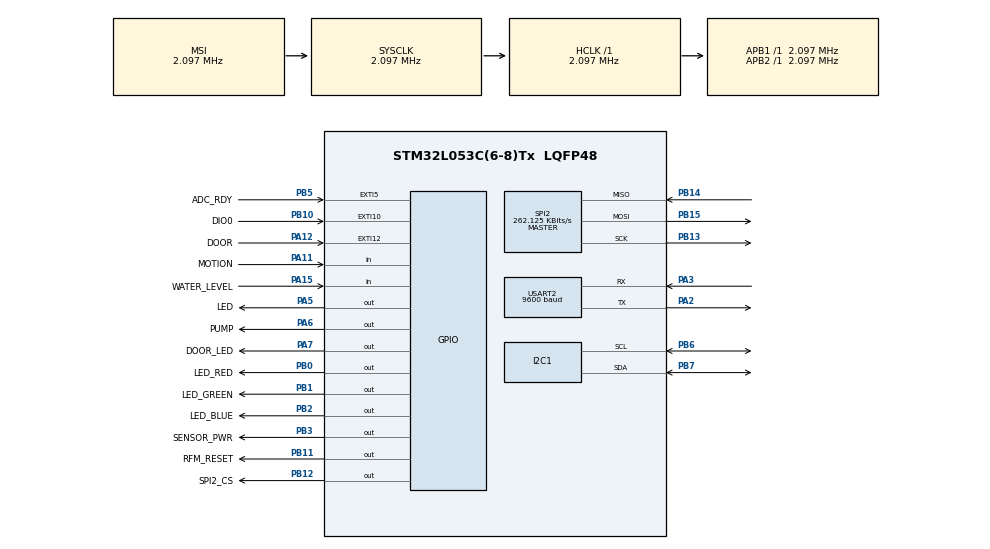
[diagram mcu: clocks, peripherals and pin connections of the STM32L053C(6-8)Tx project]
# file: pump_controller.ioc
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ADC.ClockPrescaler=ADC_CLOCK_SYNC_PCLK_DIV2
ADC.ContinuousConvMode=ENABLE
ADC.DMAContinuousRequests=DISABLE
ADC.DataAlign=ADC_DATAALIGN_RIGHT
ADC.DiscontinuousConvMode=DISABLE
ADC.EOCSelection=ADC_EOC_SINGLE_CONV
ADC.EnableAnalogWatchDog=false
ADC.ExternalTrigConv=ADC_SOFTWARE_START
ADC.ExternalTrigConvEdge=ADC_EXTERNALTRIGCONVEDGE_NONE
ADC.LowPowerAutoPowerOff=DISABLE
ADC.LowPowerAutoWait=ENABLE
ADC.LowPowerFrequencyMode=DISABLE
ADC.Overrun=ADC_OVR_DATA_PRESERVED
ADC.OversamplingMode=DISABLE
ADC.Resolution=ADC_RESOLUTION_12B
ADC.SamplingTime=ADC_SAMPLETIME_160CYCLES_5
ADC.ScanConvMode=ADC_SCAN_DIRECTION_FORWARD
I2C1.Timing=0x00000708
Mcu.Family=STM32L0
Mcu.Name=STM32L053C(6-8)Tx
Mcu.Package=LQFP48
NVIC.EXTI4_15_IRQn=true\:0\:0\:false\:true\:true\:2\:true
NVIC.RTC_IRQn=true\:0\:0\:true\:true\:true\:1\:true
NVIC.USART2_IRQn=true\:0\:0\:false\:false\:true\:true
PA11.GPIO_Label=MOTION
PA11.Signal=GPIO_Input
PA12.GPIO_Label=DOOR
PA12.Signal=GPXTI12
PA13.Mode=Serial_Wire
PA13.Signal=SYS_SWDIO
PA14.Mode=Serial_Wire
PA14.Signal=SYS_SWCLK
PA15.GPIO_Label=WATER_LEVEL
PA15.Signal=GPIO_Input
PA2.Mode=Asynchronous
PA2.Signal=USART2_TX
PA3.Mode=Asynchronous
PA3.Signal=USART2_RX
PA5.GPIO_Label=LED
PA5.Signal=GPIO_Output
PA6.GPIO_Label=PUMP
PA6.Signal=GPIO_Output
PA7.GPIO_Label=DOOR_LED
PA7.Signal=GPIO_Output
PB0.GPIO_Label=LED_RED
PB0.Signal=GPIO_Output
PB1.GPIO_Label=LED_GREEN
PB1.Signal=GPIO_Output
PB10.GPIO_Label=DIO0
PB10.Signal=GPXTI10
PB11.GPIO_Label=RFM_RESET
PB11.Signal=GPIO_Output
PB12.GPIO_Label=SPI2_CS
PB12.Signal=GPIO_Output
PB13.Mode=Full_Duplex_Master
PB13.Signal=SPI2_SCK
PB14.Mode=Full_Duplex_Master
PB14.Signal=SPI2_MISO
PB15.Mode=Full_Duplex_Master
PB15.Signal=SPI2_MOSI
PB2.GPIO_Label=LED_BLUE
PB2.Signal=GPIO_Output
PB3.GPIO_Label=SENSOR_PWR
PB3.Signal=GPIO_Output
PB5.GPIO_Label=ADC_RDY
PB5.Signal=GPXTI5
PB6.Mode=I2C
PB6.Signal=I2C1_SCL
PB7.Mode=I2C
PB7.Signal=I2C1_SDA
ProjectManager.HeapSize=0x200
ProjectManager.StackSize=0x400
ProjectManager.TargetToolchain=SW4STM32
RCC.AHBFreq_Value=2097000
RCC.APB1Freq_Value=2097000
RCC.APB1TimFreq_Value=2097000
RCC.APB2Freq_Value=2097000
RCC.APB2TimFreq_Value=2097000
RCC.HCLKFreq_Value=2097000
RCC.HSE_VALUE=8000000
RCC.HSI16_VALUE=16000000
RCC.HSI48_VALUE=48000000
RCC.HSI_VALUE=16000000
RCC.LSE_VALUE=32768
RCC.MSI_VALUE=2097000
RCC.SYSCLKFreq_VALUE=2097000
RCC.VCOOutputFreq_Value=48000000
RTC.WakeUpClock-WakeUp=RTC_WAKEUPCLOCK_CK_SPRE_16BITS
SPI2.BaudRatePrescaler=SPI_BAUDRATEPRESCALER_8
SPI2.CLKPhase=SPI_PHASE_1EDGE
SPI2.CLKPolarity=SPI_POLARITY_LOW
SPI2.CalculateBaudRate=262.125 KBits/s
SPI2.Direction=SPI_DIRECTION_2LINES
SPI2.Mode=SPI_MODE_MASTER
SPI2.VirtualType=VM_MASTER
USART2.BaudRate=9600
USART2.VirtualMode-Asynchronous=VM_ASYNC
VP_ADC_TempSens_Input.Mode=IN-TempSens
VP_RTC_VS_RTC_Activate.Mode=RTC_Enabled
VP_RTC_VS_RTC_Calendar.Mode=RTC_Calendar
VP_RTC_VS_RTC_WakeUp_intern.Mode=WakeUp
board=lora_sensor

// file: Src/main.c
/* USER CODE BEGIN Header */
/**
  ******************************************************************************
  * @file           : main.c
  * @brief          : Main program body
  ******************************************************************************
  ** This notice applies to any and all portions of this file
  * that are not between comment pairs USER CODE BEGIN and
  * USER CODE END. Other portions of this file, whether
  * inserted by the user or by software development tools
  * are owned by their respective copyright owners.
  *
  * COPYRIGHT(c) 2018 STMicroelectronics
  *
  * Redistribution and use in source and binary forms, with or without modification,
  * are permitted provided that the following conditions are met:
  *   1. Redistributions of source code must retain the above copyright notice,
  *      this list of conditions and the following disclaimer.
  *   2. Redistributions in binary form must reproduce the above copyright notice,
  *      this list of conditions and the following disclaimer in the documentation
  *      and/or other materials provided with the distribution.
  *   3. Neither the name of STMicroelectronics nor the names of its contributors
  *      may be used to endorse or promote products derived from this software
  *      without specific prior written permission.
  *
  * THIS SOFTWARE IS PROVIDED BY THE COPYRIGHT HOLDERS AND CONTRIBUTORS "AS IS"
  * AND ANY EXPRESS OR IMPLIED WARRANTIES, INCLUDING, BUT NOT LIMITED TO, THE
  * IMPLIED WARRANTIES OF MERCHANTABILITY AND FITNESS FOR A PARTICULAR PURPOSE ARE
  * DISCLAIMED. IN NO EVENT SHALL THE COPYRIGHT HOLDER OR CONTRIBUTORS BE LIABLE
  * FOR ANY DIRECT, INDIRECT, INCIDENTAL, SPECIAL, EXEMPLARY, OR CONSEQUENTIAL
  * DAMAGES (INCLUDING, BUT NOT LIMITED TO, PROCUREMENT OF SUBSTITUTE GOODS OR
  * SERVICES; LOSS OF USE, DATA, OR PROFITS; OR BUSINESS INTERRUPTION) HOWEVER
  * CAUSED AND ON ANY THEORY OF LIABILITY, WHETHER IN CONTRACT, STRICT LIABILITY,
  * OR TORT (INCLUDING NEGLIGENCE OR OTHERWISE) ARISING IN ANY WAY OUT OF THE USE
  * OF THIS SOFTWARE, EVEN IF ADVISED OF THE POSSIBILITY OF SUCH DAMAGE.
  *
  ******************************************************************************
  */
/* USER CODE END Header */

#include "main.h"
#include "adc.h"
#include "i2c.h"
#include "rtc.h"
#include "spi.h"
#include "usart.h"
#include "gpio.h"

/* USER CODE BEGIN Includes */

#include "string.h"
#include "stdio.h"
#include "stdlib.h"

#include "battery.h"
#include "water.h"

/* USER CODE END Includes */

/* USER CODE BEGIN PD */

#define TXBUFFERSIZE 128

/* USER CODE END PD */

void SystemClock_Config(void);
static void MX_NVIC_Init(void);

/* USER CODE BEGIN 0 */

/* Buffer used for debug UART */
char tx_buffer[TXBUFFERSIZE];
uint32_t last_blink = 0;
/* tmp */
uint8_t msg_id = 0;
float water_temperature = 0;

/* USER CODE END 0 */

int main(void)
{

  /* MCU Configuration--------------------------------------------------------*/

  /* Reset of all peripherals, Initializes the Flash interface and the Systick. */
  HAL_Init();

  /* Configure the system clock */
  SystemClock_Config();

  /* Initialize all configured peripherals */
  MX_GPIO_Init();
  MX_ADC_Init();
  MX_I2C1_Init();
  MX_RTC_Init();
  MX_SPI2_Init();
  MX_USART2_UART_Init();

  /* Initialize interrupts */
  MX_NVIC_Init();
  /* USER CODE BEGIN 2 */

  HAL_GPIO_WritePin(GPIOB, SENSOR_PWR_Pin, GPIO_PIN_SET);

  HAL_GPIO_WritePin(GPIOA, LED_Pin, GPIO_PIN_SET);
  HAL_GPIO_WritePin(GPIOA, LED_Pin, DOOR_LED_Pin);
  HAL_GPIO_WritePin(GPIOB, LED_RED_Pin, GPIO_PIN_RESET);
  HAL_GPIO_WritePin(GPIOB, LED_GREEN_Pin, GPIO_PIN_RESET);
  HAL_GPIO_WritePin(GPIOB, LED_BLUE_Pin, GPIO_PIN_RESET);

  HAL_GPIO_WritePin(GPIOA, PUMP_Pin, GPIO_PIN_SET);

  /* USER CODE END 2 */

  /* Infinite loop */
  while (1)
  {

    /* USER CODE BEGIN 3 */

	  uint32_t now = HAL_GetTick();
	  if (now - last_blink >= 1000) {
		  last_blink = now;

		  // Send data to debug UART.
		  water_temperature = WATER_Temperature();
		  char buf[100];
		  gcvt(water_temperature, 6, buf);
		  uint16_t batt = BATTERY_Mv();
			int tx_len = snprintf(
			  tx_buffer,
			  TXBUFFERSIZE,
			  "msg_id:%d, batt:%u, temp:%s\n",
			  msg_id++,
			  batt,
			  buf
			);
			// Blocking UART.
			HAL_UART_Transmit(&huart2, (uint8_t *)tx_buffer, tx_len, 500);

		  HAL_GPIO_TogglePin(GPIOA, LED_Pin);
	  }

	  if (HAL_GPIO_ReadPin(GPIOA, MOTION_Pin)) {
		  HAL_GPIO_WritePin(GPIOB, LED_RED_Pin, GPIO_PIN_SET);
	  } else {
		  HAL_GPIO_WritePin(GPIOB, LED_RED_Pin, GPIO_PIN_RESET);
	  }

	  if (HAL_GPIO_ReadPin(GPIOA, WATER_LEVEL_Pin)) {
		  HAL_GPIO_WritePin(GPIOB, LED_BLUE_Pin, GPIO_PIN_SET);
	  } else {
		  HAL_GPIO_WritePin(GPIOB, LED_BLUE_Pin, GPIO_PIN_RESET);
	  }

	  if (water_temperature > 1600) {
		  HAL_GPIO_WritePin(GPIOB, LED_GREEN_Pin, GPIO_PIN_SET);
	  } else {
		  HAL_GPIO_WritePin(GPIOB, LED_GREEN_Pin, GPIO_PIN_RESET);
	  }

	  if (HAL_GPIO_ReadPin(DOOR_GPIO_Port, DOOR_Pin)) {
		  HAL_GPIO_WritePin(GPIOA, DOOR_LED_Pin, GPIO_PIN_SET);
	  } else {
		  HAL_GPIO_WritePin(GPIOA, DOOR_LED_Pin, GPIO_PIN_RESET);
	  }

//	  HAL_GPIO_WritePin(GPIOB, LED_RED_Pin, GPIO_PIN_SET);
//	  HAL_GPIO_WritePin(GPIOB, LED_GREEN_Pin, GPIO_PIN_RESET);
//	  HAL_GPIO_WritePin(GPIOB, LED_BLUE_Pin, GPIO_PIN_RESET);
//
//	  HAL_Delay(500);
//	  HAL_GPIO_TogglePin(GPIOA, LED_Pin);
//	  HAL_GPIO_TogglePin(GPIOA, DOOR_LED_Pin);
//
//	  HAL_GPIO_WritePin(GPIOB, LED_RED_Pin, GPIO_PIN_RESET);
//	  HAL_GPIO_WritePin(GPIOB, LED_GREEN_Pin, GPIO_PIN_SET);
//	  HAL_GPIO_WritePin(GPIOB, LED_BLUE_Pin, GPIO_PIN_RESET);
//
//	  HAL_Delay(500);
//	  HAL_GPIO_TogglePin(GPIOA, LED_Pin);
//	  HAL_GPIO_TogglePin(GPIOA, DOOR_LED_Pin);
//
//	  HAL_GPIO_WritePin(GPIOB, LED_RED_Pin, GPIO_PIN_RESET);
//	  HAL_GPIO_WritePin(GPIOB, LED_GREEN_Pin, GPIO_PIN_RESET);
//	  HAL_GPIO_WritePin(GPIOB, LED_BLUE_Pin, GPIO_PIN_SET);

  }
  /* USER CODE END 3 */
}

void SystemClock_Config(void)
{
  RCC_OscInitTypeDef RCC_OscInitStruct = {0};
  RCC_ClkInitTypeDef RCC_ClkInitStruct = {0};
  RCC_PeriphCLKInitTypeDef PeriphClkInit = {0};

  /**Configure the main internal regulator output voltage
  */
  __HAL_PWR_VOLTAGESCALING_CONFIG(PWR_REGULATOR_VOLTAGE_SCALE1);
  /**Initializes the CPU, AHB and APB busses clocks
  */
  RCC_OscInitStruct.OscillatorType = RCC_OSCILLATORTYPE_LSI|RCC_OSCILLATORTYPE_MSI;
  RCC_OscInitStruct.LSIState = RCC_LSI_ON;
  RCC_OscInitStruct.MSIState = RCC_MSI_ON;
  RCC_OscInitStruct.MSICalibrationValue = 0;
  RCC_OscInitStruct.MSIClockRange = RCC_MSIRANGE_5;
  RCC_OscInitStruct.PLL.PLLState = RCC_PLL_NONE;
  if (HAL_RCC_OscConfig(&RCC_OscInitStruct) != HAL_OK)
  {
    Error_Handler();
  }
  /**Initializes the CPU, AHB and APB busses clocks
  */
  RCC_ClkInitStruct.ClockType = RCC_CLOCKTYPE_HCLK|RCC_CLOCKTYPE_SYSCLK
                              |RCC_CLOCKTYPE_PCLK1|RCC_CLOCKTYPE_PCLK2;
  RCC_ClkInitStruct.SYSCLKSource = RCC_SYSCLKSOURCE_MSI;
  RCC_ClkInitStruct.AHBCLKDivider = RCC_SYSCLK_DIV1;
  RCC_ClkInitStruct.APB1CLKDivider = RCC_HCLK_DIV1;
  RCC_ClkInitStruct.APB2CLKDivider = RCC_HCLK_DIV1;

  if (HAL_RCC_ClockConfig(&RCC_ClkInitStruct, FLASH_LATENCY_0) != HAL_OK)
  {
    Error_Handler();
  }
  PeriphClkInit.PeriphClockSelection = RCC_PERIPHCLK_USART2|RCC_PERIPHCLK_I2C1
                              |RCC_PERIPHCLK_RTC;
  PeriphClkInit.Usart2ClockSelection = RCC_USART2CLKSOURCE_PCLK1;
  PeriphClkInit.I2c1ClockSelection = RCC_I2C1CLKSOURCE_PCLK1;
  PeriphClkInit.RTCClockSelection = RCC_RTCCLKSOURCE_LSI;
  if (HAL_RCCEx_PeriphCLKConfig(&PeriphClkInit) != HAL_OK)
  {
    Error_Handler();
  }
}

/**
  * @brief NVIC Configuration.
  * @retval None
  */
static void MX_NVIC_Init(void)
{
  /* RTC_IRQn interrupt configuration */
  HAL_NVIC_SetPriority(RTC_IRQn, 0, 0);
  HAL_NVIC_EnableIRQ(RTC_IRQn);
  /* EXTI4_15_IRQn interrupt configuration */
  HAL_NVIC_SetPriority(EXTI4_15_IRQn, 0, 0);
  HAL_NVIC_EnableIRQ(EXTI4_15_IRQn);
}

void Error_Handler(void)
{
}

/************************ (C) COPYRIGHT STMicroelectronics *****END OF FILE****/
